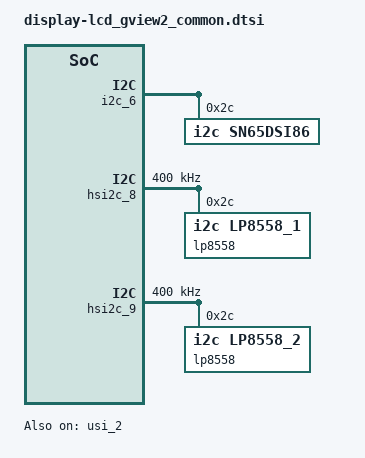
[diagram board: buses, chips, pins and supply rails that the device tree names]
/*
 * SAMSUNG LCD Panel Device Tree Source
 *
 * Copyright (c) Samsung Electronics Co., Ltd.
 *		http://www.samsung.com
 *
 * This program is free software; you can redistribute it and/or modify
 * it under the terms of the GNU General Public License version 2 as
 * published by the Free Software Foundation.
*/

/ {
	decon_board_sn65dsi86: decon_board_sn65dsi86 {
		compatible = "simple-bus";
		pinctrl-names = "bridge_clk_off", "bridge_clk";
		pinctrl-0 = <&disp_bridge_clk_off>;
		pinctrl-1 = <&disp_bridge_clk>;

		gpio_visual_dcdc_en = <&gpp2 3 0>;
		gpio_lcd_blic_on = <&gpg1 7 0>;
		gpio_lcd_buckboost_en = <&gpg2 4 0>;
		gpio_bridge_en = <&gpg2 6 0>;
		gpio_bridge_1p2_ldo_en = <&gpp3 2 0>;
		gpio_bridge_1p8_ldo_en = <&gpg2 7 0>;

		dsim_set_panel_power_early {
			type =
			"gpio,high",	"gpio_visual_dcdc_en",
			"delay,mdelay",	"1",
			"gpio,high",	"gpio_lcd_buckboost_en",
			"delay,mdelay",	"1",
			"gpio,high",	"gpio_lcd_blic_on",
			"delay,mdelay",	"1";
		};
		dsim_set_panel_power_enable {
			type =
			"gpio,high",	"gpio_bridge_1p2_ldo_en",
			"delay,mdelay",	"1",
			"gpio,high",	"gpio_bridge_1p8_ldo_en",
			"delay,mdelay",	"1",
			"pinctrl",	"bridge_clk",
			"delay,mdelay",	"1";
		};
		dsim_set_panel_power_disable {
			type =
			"gpio,low",	"gpio_lcd_blic_on",
			"pinctrl",	"bridge_clk_off",
			"gpio,low",	"gpio_bridge_en",
			"gpio,low",	"gpio_bridge_1p2_ldo_en",
			"gpio,low",	"gpio_bridge_1p8_ldo_en",
			"gpio,low",	"gpio_lcd_buckboost_en",
			"gpio,low",	"gpio_visual_dcdc_en",
			"delay,msleep",	"100";
		};
		dsim_reset_panel {
			type =
			"gpio,high",	"gpio_bridge_en",
			"delay,msleep",	"100";
		};
	};

	sn65dsi86: sn65dsi86 {
		mode = <0>; /* 0: video mode, 1: DP command mode, 2: MIPI command mode */
		resolution = <1920 1080>;
		size = <382 214>;	/* 381.888(H) x 213.812(V) */
		timing,refresh = <60>;
		/* HBP HFP HSW */
		timing,h-porch = <142 48 32>;
		/* VBP VFP VSW */
		timing,v-porch = <13 3 6>;
		timing,dsi-hs-clk = <936>;
		timing,pms = <1 72 1>;
		timing,dsi-escape-clk = <16>;
		mic_en = <0>;		/* 0: Disable, 1: Enable */
		mic_ratio = <0>;	/* 0: 1/2 mic, 1: 1/3 mic */
		mic_ver = <0>;		/* 0: mic v1.1, 1: v1.2, 2: v2.0 */
		type_of_ddi = <0>;	/* 0: Samsung Mobile, 1: MAGNA, 2: Normal(Etc) */
		dsc_en = <0>;		/* 0: Disable, 1: Enable */
		dsc_cnt = <0>;		/* used DSC count */
		dsc_slice_num = <0>;	/* count of dsc slice */
		data_lane = <4>;	/* number of using data lane */
		vt_compensation = <1397>;	/* for difference between wordclk and vclk at video mode */
		decon_board = <&decon_board_sn65dsi86>;
	};
};

&dsim_0 {
	lcd_info = <&sn65dsi86>;
};

&decon_f {
	psr_mode = <0>;		/* 0: video mode, 1: DP command mode, 2: MIPI command mode */
	trig_mode = <1>;	/* 0: hw trigger, 1: sw trigger */
	dsi_mode = <0>;		/* 0: single dsi, 1: dual dsi */

	disp_freq = <267000>;
};

/* pinctrl_0: pinctrl@11CB0000 */
&pinctrl_0 {
	disp_bridge_clk: disp_bridge_clk {
		samsung,pins = "gpq0-0";
		samsung,pin-function = <2>;
	};

	disp_bridge_clk_off: disp_bridge_clk_off {
		samsung,pins = "gpq0-0";
		samsung,pin-function = <0>;
	};
};

/* pinctrl_3: pinctrl@139B0000 */
&i2c6_bus {
	samsung,pins = "gpp4-5", "gpp4-4";
	samsung,pin-function = <2>;
	samsung,pin-pud = <0>;
	samsung,pin-drv = <0>;
};

/* i2c_6: i2c@13890000 */
&i2c_6 {
	status = "okay";
	samsung,i2c-max-bus-freq = <400000>;

	sn65dsi86@2C {
		compatible = "i2c,sn65dsi86";
		reg = <0x2C>;
	};
};

/* usi_2: usi@10032008 */
&usi_2 {
	/* usi_mode = "hsi2c0" or "hsi2c1" or "spi" or "uart"
		      or "hsi2c0_hsi2c1" or "uart_hsi2c1"    */
	usi_mode = "hsi2c0_hsi2c1";
	status = "okay";
};

/* hsi2c_8: hsi2c@13980000 */
&hsi2c_8 {
	status = "okay";
	clock-frequency = <400000>;

	lp8558@2C {
		compatible = "i2c,lp8558_1";
		reg = <0x2C>;
	};
};

/* hsi2c_9: hsi2c@13990000 */
&hsi2c_9 {
	status = "okay";
	clock-frequency = <400000>;

	lp8558@2C {
		compatible = "i2c,lp8558_2";
		reg = <0x2C>;
	};
};

